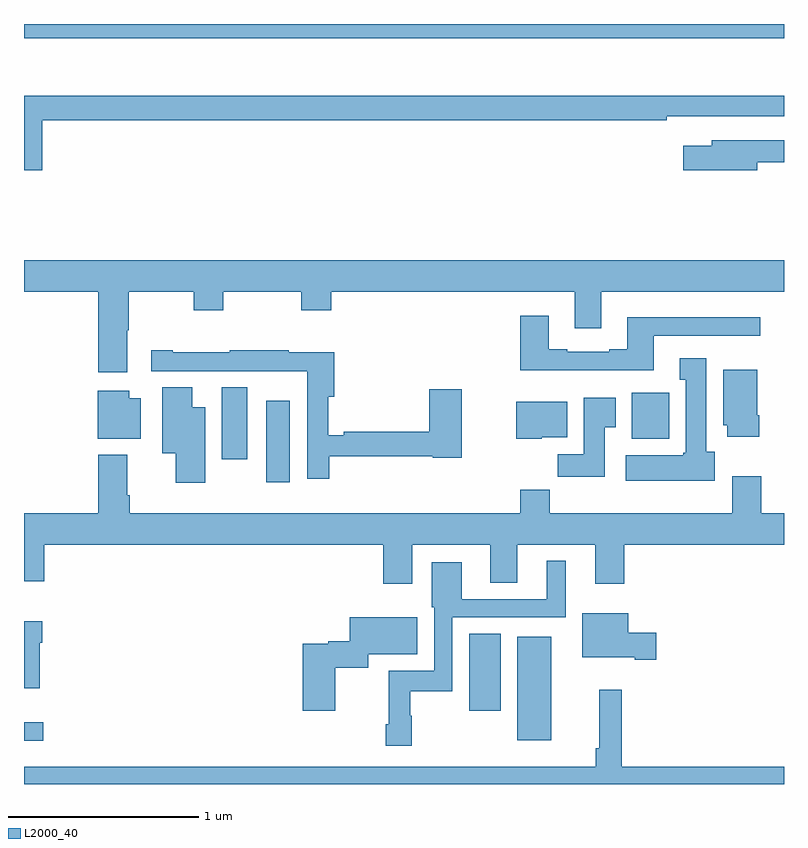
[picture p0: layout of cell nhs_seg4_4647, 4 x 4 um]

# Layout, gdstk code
import gdstk
lib = gdstk.Library(unit=1e-6, precision=1e-09)
def R(c, l, rs):  # rectangles x0, y0, x1, y1
    for r in rs: c.add(gdstk.rectangle(r[:2], r[2:], *l))
def P(c, l, *ps):  # polygons
    for p in ps: c.add(gdstk.Polygon(p, *l))
L2000_40 = (2000, 40)

nhs_seg4_4647 = lib.new_cell('nhs_seg4_4647')
R(nhs_seg4_4647, L2000_40, [(361,789.128,361.102,789.225), (363.596,789.131,363.775,789.676), (363.344,789.285,363.508,789.692), (362.276,790.488,362.398,790.918), (362.042,790.608,362.176,790.988), (364.199,790.718,364.396,790.96), (361,792.824,365,792.9)])
P(nhs_seg4_4647, L2000_40, [(361.097,792.394),(364.382,792.394),(364.382,792.414),(365,792.414),(365,792.523),(361,792.523),(361,792.129),(361.097,792.129)],
  [(364.858,792.172),(365,792.172),(365,792.288),(364.619,792.288),(364.619,792.259),(364.47,792.259),(364.47,792.13),(364.858,792.13)],
  [(361.543,791.288),(361.551,791.288),(361.551,791.492),(361.894,791.492),(361.894,791.393),(362.049,791.393),(362.049,791.492),(362.458,791.492),(362.458,791.393),(362.618,791.393),(362.618,791.492),(363.899,791.492),(363.899,791.298),(364.039,791.298),(364.039,791.492),(365,791.492),(365,791.656),(361,791.656),(361,791.492),(361.391,791.492),(361.391,791.067),(361.543,791.067)],
  [(364.315,791.259),(364.876,791.259),(364.876,791.356),(364.175,791.356),(364.175,791.188),(364.079,791.188),(364.079,791.175),(363.859,791.175),(363.859,791.188),(363.763,791.188),(363.763,791.365),(363.611,791.365),(363.611,791.078),(364.315,791.078)],
  [(362.606,790.626),(363.15,790.626),(363.15,790.618),(363.304,790.618),(363.304,790.978),(363.134,790.978),(363.134,790.754),(362.683,790.754),(362.683,790.736),(362.602,790.736),(362.602,790.937),(362.633,790.937),(362.633,791.172),(362.393,791.172),(362.393,791.182),(362.083,791.182),(362.083,791.172),(361.783,791.172),(361.783,791.182),(361.671,791.182),(361.671,791.073),(362.28,791.073),(362.28,791.072),(362.49,791.072),(362.49,790.506),(362.606,790.506)],
  [(364.636,790.65),(364.591,790.65),(364.591,791.14),(364.451,791.14),(364.451,791.027),(364.484,791.027),(364.484,790.644),(364.471,790.644),(364.471,790.63),(364.167,790.63),(364.167,790.496),(364.636,790.496)],
  [(364.871,790.84),(364.858,790.84),(364.858,791.08),(364.679,791.08),(364.679,790.788),(364.7,790.788),(364.7,790.728),(364.871,790.728)],
  [(361.954,790.882),(361.885,790.882),(361.885,790.988),(361.727,790.988),(361.727,790.64),(361.799,790.64),(361.799,790.485),(361.954,790.485)],
  [(361.615,790.93),(361.555,790.93),(361.555,790.969),(361.388,790.969),(361.388,790.718),(361.615,790.718)],
  [(364.057,790.777),(364.114,790.777),(364.114,790.933),(363.947,790.933),(363.947,790.636),(363.808,790.636),(363.808,790.518),(364.057,790.518)],
  [(363.726,790.724),(363.859,790.724),(363.859,790.912),(363.59,790.912),(363.59,790.718),(363.726,790.718)],
  [(363.043,790.16),(363.455,790.16),(363.455,789.958),(363.595,789.958),(363.595,790.16),(364.007,790.16),(364.007,789.954),(364.16,789.954),(364.16,790.16),(365,790.16),(365,790.324),(364.88,790.324),(364.88,790.519),(364.727,790.519),(364.727,790.324),(363.767,790.324),(363.767,790.448),(363.611,790.448),(363.611,790.324),(361.556,790.324),(361.556,790.42),(361.543,790.42),(361.543,790.633),(361.391,790.633),(361.391,790.324),(361,790.324),(361,789.966),(361.106,789.966),(361.106,790.16),(362.891,790.16),(362.891,789.954),(363.043,789.954)],
  [(363.041,789.258),(363.034,789.258),(363.034,789.387),(363.255,789.387),(363.255,789.777),(363.85,789.777),(363.85,790.075),(363.752,790.075),(363.752,789.873),(363.304,789.873),(363.304,790.066),(363.146,790.066),(363.146,789.83),(363.159,789.83),(363.159,789.495),(362.92,789.495),(362.92,789.214),(362.905,789.214),(362.905,789.102),(363.041,789.102)],
  [(364.327,789.696),(364.18,789.696),(364.18,789.799),(363.938,789.799),(363.938,789.566),(364.214,789.566),(364.214,789.554),(364.327,789.554)],
  [(362.638,789.512),(362.811,789.512),(362.811,789.584),(363.07,789.584),(363.07,789.778),(362.715,789.778),(362.715,789.651),(362.601,789.651),(362.601,789.637),(362.468,789.637),(362.468,789.285),(362.638,789.285)],
  [(361.084,789.644),(361.097,789.644),(361.097,789.757),(361,789.757),(361,789.404),(361.084,789.404)],
  [(365,788.992),(364.145,788.992),(364.145,789.397),(364.027,789.397),(364.027,789.088),(364.009,789.088),(364.009,788.992),(361,788.992),(361,788.9),(365,788.9)])

lib.write_gds('nhs_seg4_4647.gds')
